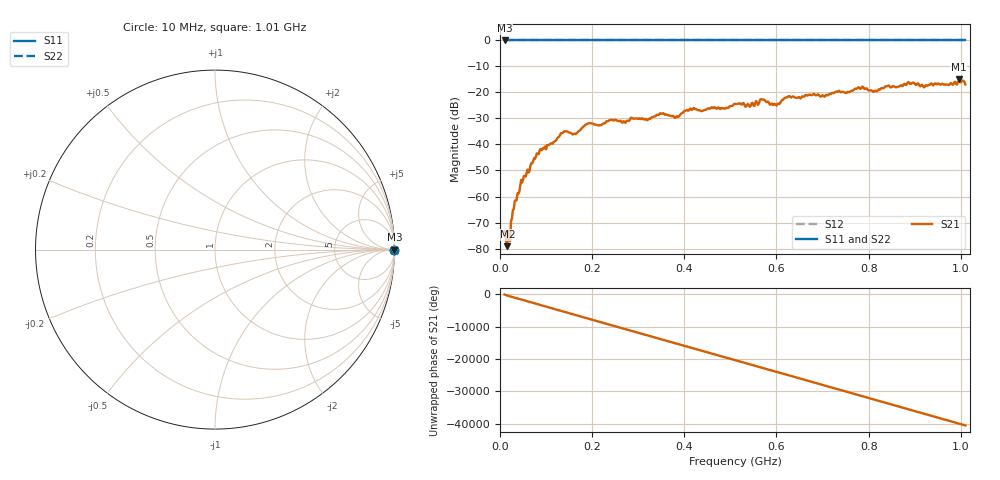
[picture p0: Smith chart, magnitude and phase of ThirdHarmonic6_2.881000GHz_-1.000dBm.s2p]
! 8/17/2025 7:54:17 AM
! C:\ANRITSUVNA\TEMP\TEMP.S2P
! CHANNEL.1
! TR.MEASUREMENT
! RAW.DATA
! RF.CORRECTION.OFF
! AVERAGING.OFF
! IF.BANDWIDTH: 5KHZ
! SWEEPTYPE:  FREQ.SWEEP(Linear)
! Reference Plane Port Info
! PORT:  PORT1  PORT2
! DISTANCE:  0  m  0  m
! TIME:  0  s  0  s
! PHASE.OFFSET:  0  deg.  0  deg.
! LOSS:  0  dB  0  dB
! REF.LOSS:  0  dB  0  dB
! REF.FREQ:  0  Hz  0  Hz
! Power Info
! POWER:  -20  dBm  -20  dBm
! EFF.POWER:  -20  dBm  -20  dBm
! SOURCE.ATTEN:  0  dB  0  dB
! TEST.ATTEN:  0  dB  0  dB
# GHZ S RI R 50.0
! FREQ.GHZ  S11RE  S11IM  S21RE  S21IM  S12RE  S12IM  S22RE  S22IM
!; PortSelection: Port_12
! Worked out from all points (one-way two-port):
!   501 points, 10 MHz to 1.01 GHz, reference 50 ohm
!   highest |S21| = -15.00 dB at 996 MHz (marker M1); lowest = -79.1 dB at 16 MHz (marker M2)
!   lowest |S11| = 0.0 dB at 10 MHz (marker M3)
!   |S11| at or under -10 dB: nowhere
!   |S22| runs from 0.0 to 0.0 dB; largest |S21 - S12| = 1.2
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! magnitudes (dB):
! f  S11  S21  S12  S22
! 10 MHz  0.0  -73.3  0.0  0.0
! 16 MHz  0.0  -79.1  0.0  0.0
! 18 MHz  0.0  -73.2  0.0  0.0
! 30 MHz  0.0  -64.8  0.0  0.0
! 48 MHz  0.0  -54.7  0.0  0.0
! 78 MHz  0.0  -44.6  0.0  0.0
! 136 MHz  0.0  -35.5  0.0  0.0
! 162 MHz  0.0  -35.9  0.0  0.0
! 178 MHz  0.0  -33.6  0.0  0.0
! 344 MHz  0.0  -28.7  0.0  0.0
! 384 MHz  0.0  -29.1  0.0  0.0
! 416 MHz  0.0  -26.7  0.0  0.0
! 510 MHz  0.0  -24.3  0.0  0.0
! 540 MHz  0.0  -24.9  0.0  0.0
! 570 MHz  0.0  -22.8  0.0  0.0
! 596 MHz  0.0  -24.4  0.0  0.0
! 624 MHz  0.0  -21.8  0.0  0.0
! 678 MHz  0.0  -20.9  0.0  0.0
! 814 MHz  0.0  -19.3  0.0  0.0
! 844 MHz  0.0  -17.3  0.0  0.0
! 996 MHz  0.0  -15.0  0.0  0.0
! 1.01 GHz  0.0  -16.9  0.0  0.0
